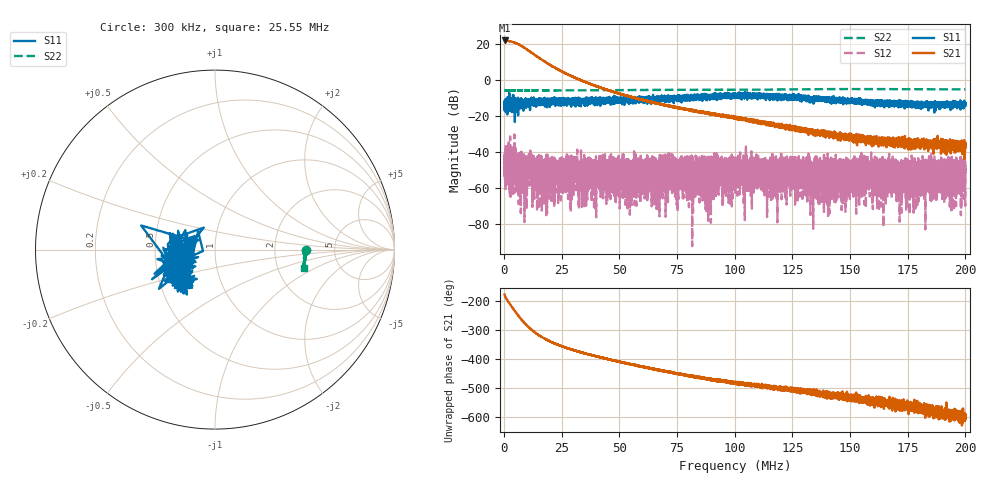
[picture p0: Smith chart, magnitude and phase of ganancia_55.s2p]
# Hz S DB R 50
! CMT, M5065, 19127446, 24.2.4/2
! Date: 11/8/2024 3:22:23 PM
! Data: Format (Calibration Info)
! Freq	S11:dB/Ang(F2)	S21:dB/Ang(F2)	S12:dB/Ang(F2)	S22:dB/Ang(F2)
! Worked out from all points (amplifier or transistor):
!   9000 points, 300 kHz to 200 MHz, reference 50 ohm
!   highest |S21| = 21.8 dB at 411 kHz (marker M1)
!   |S21| within 3 dB of that: start of sweep to 7.553 MHz
!   unconditionally stable (mu >= 1): start of sweep to end of sweep
!   at 33.59 MHz: K = 223.86, MAG = 1.2 dB, |S12| = -55.9 dB
!   at 100.2 MHz: K = 1146.48, MAG = -18.8 dB, |S12| = -50.5 dB
!   at 200 MHz: K = 5257.13, MAG = -33.9 dB, |S12| = -48.2 dB
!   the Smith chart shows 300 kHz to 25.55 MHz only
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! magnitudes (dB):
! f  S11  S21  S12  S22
! 300 kHz  -16.6  21.8  -45.8  -5.9
! 411 kHz  -16.2  21.8  -40.5  -6.1
! 6.602 MHz  -14.7  19.5  -47.1  -6.0
! 11.06 MHz  -12.1  15.8  -46.8  -5.9
! 17.92 MHz  -12.6  9.8  -45.8  -6.0
! 29.39 MHz  -11.4  2.0  -58.9  -5.9
! 30.79 MHz  -11.6  1.1  -46.5  -5.9
! 33.59 MHz  -11.3  -0.4  -55.9  -5.9
! 66.87 MHz  -9.9  -13.4  -56.8  -5.7
! 100.2 MHz  -8.9  -20.8  -50.5  -5.5
! 114.9 MHz  -8.7  -24.2  -53.9  -5.5
! 117.2 MHz  -8.2  -24.8  -44.7  -5.4
! 133.4 MHz  -11.0  -29.4  -54.7  -5.3
! 152.5 MHz  -11.5  -32.3  -51.4  -5.2
! 155 MHz  -11.7  -33.7  -44.6  -5.2
! 157 MHz  -12.7  -34.5  -54.8  -5.2
! 166.7 MHz  -12.0  -35.0  -56.4  -5.2
! 178.4 MHz  -14.0  -34.5  -52.0  -5.3
! 181 MHz  -13.7  -34.0  -54.9  -5.3
! 191.6 MHz  -13.5  -37.1  -47.5  -5.3
! 193.7 MHz  -13.3  -35.1  -53.1  -5.3
! 200 MHz  -13.0  -35.6  -48.2  -5.4
